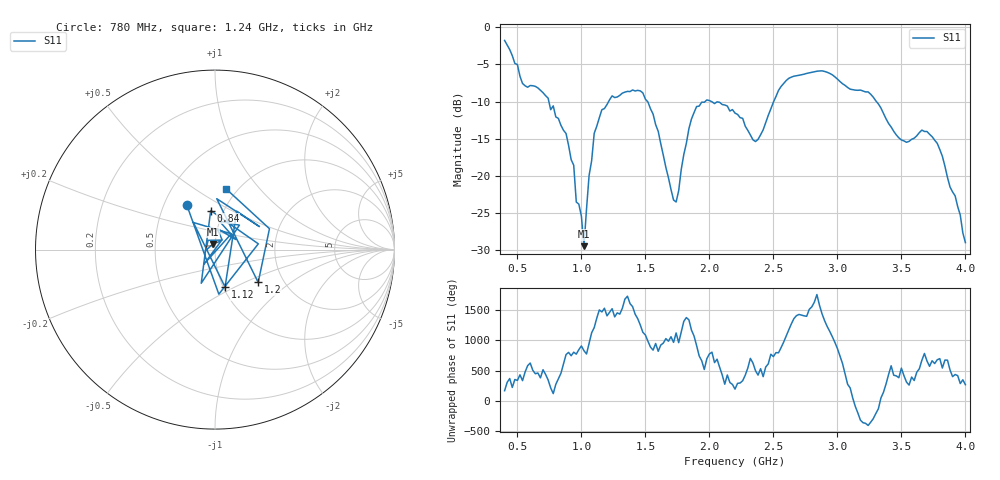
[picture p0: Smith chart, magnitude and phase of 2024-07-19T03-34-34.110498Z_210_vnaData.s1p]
!Created with skrf (http://scikit-rf.org).
# Hz S RI R 50.0
!freq ReS11 ImS11
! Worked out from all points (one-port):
!   181 points, 400 MHz to 4 GHz, reference 50 ohm
!   lowest |S11| = -29.5 dB at 1.02 GHz (marker M1), VSWR 1.07, Z = 48.8 + j3.09 ohm
!   |S11| at or under -10 dB: 745.9 MHz to 1.213 GHz (466.6 MHz wide, 47.7 % of centre); 2.017 GHz to 2.502 GHz (485.3 MHz wide, 21.5 % of centre); 3.305 GHz to end of sweep (the widest 3 of 4)
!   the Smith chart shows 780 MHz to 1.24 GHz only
!   S11 on the Smith chart (normalised r, x): 780 MHz: 0.65, +0.36; 840 MHz: 0.87, +0.40; 1.12 GHz: 1.02, -0.45; 1.2 GHz: 1.49, -0.60; 1.24 GHz: 0.88, +0.68
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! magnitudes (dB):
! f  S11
! 400 MHz  -1.8
! 540 MHz  -7.6
! 780 MHz  -10.6
! 840 MHz  -13.2
! 860 MHz  -13.9
! 940 MHz  -18.6
! 960 MHz  -23.5
! 1 GHz  -25.5
! 1.02 GHz  -29.5
! 1.06 GHz  -20.0
! 1.12 GHz  -13.3
! 1.2 GHz  -10.4
! 1.24 GHz  -9.2
! 1.3 GHz  -9.2
! 1.48 GHz  -8.8
! 1.6 GHz  -14.0
! 1.72 GHz  -23.3
! 1.76 GHz  -22.0
! 1.84 GHz  -13.6
! 1.9 GHz  -10.7
! 2.2 GHz  -11.6
! 2.36 GHz  -15.4
! 2.66 GHz  -6.6
! 3.1 GHz  -8.3
! 3.24 GHz  -8.7
! 3.56 GHz  -15.4
! 3.78 GHz  -15.6
! 4 GHz  -29.0
